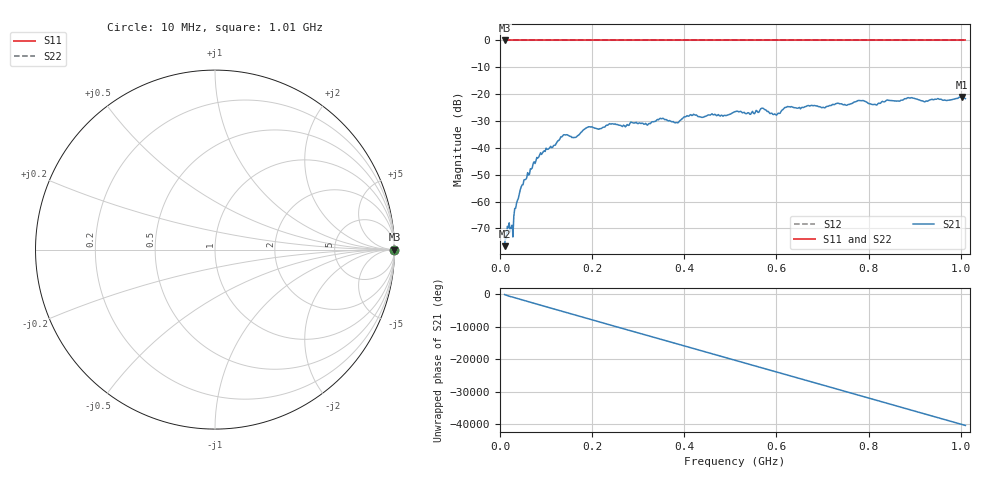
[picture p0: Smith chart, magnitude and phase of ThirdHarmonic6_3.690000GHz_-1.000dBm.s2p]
! 8/17/2025 12:31:03 PM
! C:\ANRITSUVNA\TEMP\TEMP.S2P
! CHANNEL.1
! TR.MEASUREMENT
! RAW.DATA
! RF.CORRECTION.OFF
! AVERAGING.OFF
! IF.BANDWIDTH: 5KHZ
! SWEEPTYPE:  FREQ.SWEEP(Linear)
! Reference Plane Port Info
! PORT:  PORT1  PORT2
! DISTANCE:  0  m  0  m
! TIME:  0  s  0  s
! PHASE.OFFSET:  0  deg.  0  deg.
! LOSS:  0  dB  0  dB
! REF.LOSS:  0  dB  0  dB
! REF.FREQ:  0  Hz  0  Hz
! Power Info
! POWER:  -20  dBm  -20  dBm
! EFF.POWER:  -20  dBm  -20  dBm
! SOURCE.ATTEN:  0  dB  0  dB
! TEST.ATTEN:  0  dB  0  dB
# GHZ S RI R 50.0
! FREQ.GHZ  S11RE  S11IM  S21RE  S21IM  S12RE  S12IM  S22RE  S22IM
!; PortSelection: Port_12
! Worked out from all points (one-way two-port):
!   501 points, 10 MHz to 1.01 GHz, reference 50 ohm
!   highest |S21| = -21.01 dB at 1.002 GHz (marker M1); lowest = -76.6 dB at 10 MHz (marker M2)
!   lowest |S11| = 0.0 dB at 10 MHz (marker M3)
!   |S11| at or under -10 dB: nowhere
!   |S22| runs from 0.0 to 0.0 dB; largest |S21 - S12| = 1.1
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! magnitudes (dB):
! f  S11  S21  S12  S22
! 10 MHz  0.0  -76.6  0.0  0.0
! 16 MHz  0.0  -69.2  0.0  0.0
! 26 MHz  0.0  -68.8  0.0  0.0
! 34 MHz  0.0  -62.5  0.0  0.0
! 48 MHz  0.0  -53.8  0.0  0.0
! 84 MHz  0.0  -43.5  0.0  0.0
! 136 MHz  0.0  -35.6  0.0  0.0
! 162 MHz  0.0  -36.1  0.0  0.0
! 178 MHz  0.0  -33.9  0.0  0.0
! 344 MHz  0.0  -29.6  0.0  0.0
! 382 MHz  0.0  -30.6  0.0  0.0
! 416 MHz  0.0  -27.9  0.0  0.0
! 510 MHz  0.0  -26.5  0.0  0.0
! 570 MHz  0.0  -25.2  0.0  0.0
! 598 MHz  0.0  -27.6  0.0  0.0
! 622 MHz  0.0  -24.8  0.0  0.0
! 678 MHz  0.0  -24.2  0.0  0.0
! 782 MHz  0.0  -22.4  0.0  0.0
! 814 MHz  0.0  -23.8  0.0  0.0
! 844 MHz  0.0  -22.3  0.0  0.0
! 1.002 GHz  0.0  -21.0  0.0  0.0
! 1.01 GHz  0.0  -21.7  0.0  0.0
